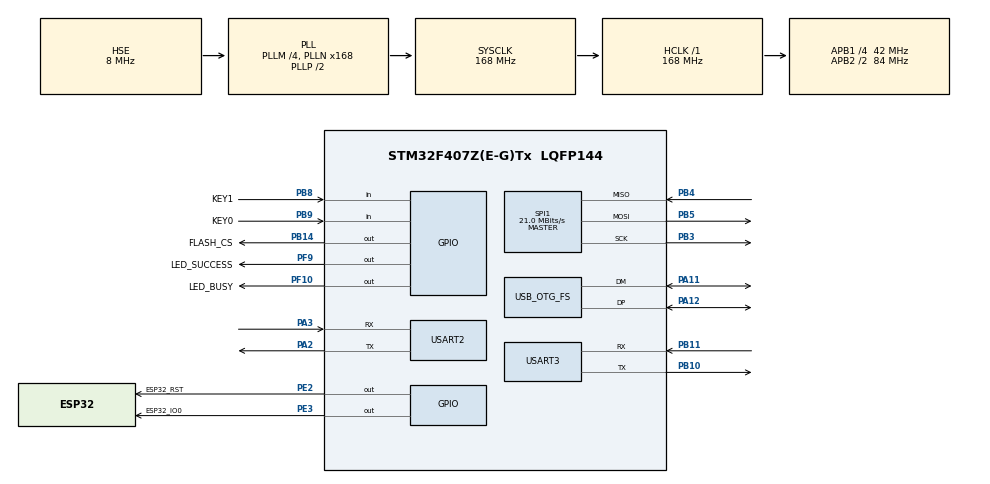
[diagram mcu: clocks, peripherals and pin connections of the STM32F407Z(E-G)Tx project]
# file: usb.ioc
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Dma.Request0=SPI1_RX
Dma.Request1=SPI1_TX
Dma.Request2=USART3_RX
Dma.Request3=USART3_TX
Dma.SPI1_RX.0.Direction=DMA_PERIPH_TO_MEMORY
Dma.SPI1_RX.0.FIFOMode=DMA_FIFOMODE_DISABLE
Dma.SPI1_RX.0.Instance=DMA2_Stream0
Dma.SPI1_RX.0.MemDataAlignment=DMA_MDATAALIGN_BYTE
Dma.SPI1_RX.0.MemInc=DMA_MINC_ENABLE
Dma.SPI1_RX.0.Mode=DMA_NORMAL
Dma.SPI1_RX.0.PeriphDataAlignment=DMA_PDATAALIGN_BYTE
Dma.SPI1_RX.0.PeriphInc=DMA_PINC_DISABLE
Dma.SPI1_RX.0.Priority=DMA_PRIORITY_LOW
Dma.SPI1_TX.1.Direction=DMA_MEMORY_TO_PERIPH
Dma.SPI1_TX.1.FIFOMode=DMA_FIFOMODE_DISABLE
Dma.SPI1_TX.1.Instance=DMA2_Stream3
Dma.SPI1_TX.1.MemDataAlignment=DMA_MDATAALIGN_BYTE
Dma.SPI1_TX.1.MemInc=DMA_MINC_ENABLE
Dma.SPI1_TX.1.Mode=DMA_NORMAL
Dma.SPI1_TX.1.PeriphDataAlignment=DMA_PDATAALIGN_BYTE
Dma.SPI1_TX.1.PeriphInc=DMA_PINC_DISABLE
Dma.SPI1_TX.1.Priority=DMA_PRIORITY_LOW
Dma.USART3_RX.2.Direction=DMA_PERIPH_TO_MEMORY
Dma.USART3_RX.2.FIFOMode=DMA_FIFOMODE_DISABLE
Dma.USART3_RX.2.Instance=DMA1_Stream1
Dma.USART3_RX.2.MemDataAlignment=DMA_MDATAALIGN_BYTE
Dma.USART3_RX.2.MemInc=DMA_MINC_ENABLE
Dma.USART3_RX.2.Mode=DMA_CIRCULAR
Dma.USART3_RX.2.PeriphDataAlignment=DMA_PDATAALIGN_BYTE
Dma.USART3_RX.2.PeriphInc=DMA_PINC_DISABLE
Dma.USART3_RX.2.Priority=DMA_PRIORITY_LOW
Dma.USART3_TX.3.Direction=DMA_MEMORY_TO_PERIPH
Dma.USART3_TX.3.FIFOMode=DMA_FIFOMODE_DISABLE
Dma.USART3_TX.3.Instance=DMA1_Stream3
Dma.USART3_TX.3.MemDataAlignment=DMA_MDATAALIGN_BYTE
Dma.USART3_TX.3.MemInc=DMA_MINC_ENABLE
Dma.USART3_TX.3.Mode=DMA_NORMAL
Dma.USART3_TX.3.PeriphDataAlignment=DMA_PDATAALIGN_BYTE
Dma.USART3_TX.3.PeriphInc=DMA_PINC_DISABLE
Dma.USART3_TX.3.Priority=DMA_PRIORITY_LOW
FATFS._MAX_SS=4096
FATFS._USE_LABEL=1
FATFS._USE_LFN=2
FREERTOS.Tasks01=defaultTask,0,128,StartDefaultTask,Default,NULL,Dynamic,NULL,NULL
FREERTOS.configUSE_NEWLIB_REENTRANT=1
Mcu.Family=STM32F4
Mcu.Name=STM32F407Z(E-G)Tx
Mcu.Package=LQFP144
NVIC.DMA1_Stream1_IRQn=true\:5\:0\:false\:false\:true\:true\:false\:true\:true
NVIC.DMA1_Stream3_IRQn=true\:5\:0\:false\:false\:true\:true\:false\:true\:true
NVIC.DMA2_Stream0_IRQn=true\:5\:0\:false\:false\:true\:true\:false\:true\:true
NVIC.DMA2_Stream3_IRQn=true\:5\:0\:false\:false\:true\:true\:false\:true\:true
NVIC.OTG_FS_IRQn=true\:5\:0\:false\:false\:true\:true\:true\:true\:true
NVIC.PriorityGroup=NVIC_PRIORITYGROUP_4
NVIC.SPI1_IRQn=true\:5\:0\:false\:false\:true\:true\:true\:true\:true
NVIC.TIM2_IRQn=true\:15\:0\:false\:false\:true\:false\:false\:true\:true
NVIC.TimeBase=TIM2_IRQn
NVIC.TimeBaseIP=TIM2
NVIC.USART2_IRQn=true\:5\:0\:false\:false\:true\:true\:true\:true\:true
NVIC.USART3_IRQn=true\:5\:0\:false\:false\:true\:true\:true\:true\:true
PA11.Mode=Device_Only
PA11.Signal=USB_OTG_FS_DM
PA12.Mode=Device_Only
PA12.Signal=USB_OTG_FS_DP
PA13.Mode=Serial_Wire
PA13.Signal=SYS_JTMS-SWDIO
PA14.Mode=Serial_Wire
PA14.Signal=SYS_JTCK-SWCLK
PA2.Mode=Asynchronous
PA2.Signal=USART2_TX
PA3.Mode=Asynchronous
PA3.Signal=USART2_RX
PB10.Mode=Asynchronous
PB10.Signal=USART3_TX
PB11.Mode=Asynchronous
PB11.Signal=USART3_RX
PB14.GPIO_Label=FLASH_CS
PB14.Signal=GPIO_Output
PB3.Mode=Full_Duplex_Master
PB3.Signal=SPI1_SCK
PB4.Mode=Full_Duplex_Master
PB4.Signal=SPI1_MISO
PB5.Mode=Full_Duplex_Master
PB5.Signal=SPI1_MOSI
PB8.GPIO_Label=KEY1
PB8.GPIO_PuPd=GPIO_PULLUP
PB8.Signal=GPIO_Input
PB9.GPIO_Label=KEY0
PB9.GPIO_PuPd=GPIO_PULLUP
PB9.Signal=GPIO_Input
PE2.GPIO_Label=ESP32_RST
PE2.Signal=GPIO_Output
PE3.GPIO_Label=ESP32_IO0
PE3.Signal=GPIO_Output
PF10.GPIO_Label=LED_BUSY
PF10.Signal=GPIO_Output
PF9.GPIO_Label=LED_SUCCESS
PF9.Signal=GPIO_Output
PH0-OSC_IN.Mode=HSE-External-Oscillator
PH0-OSC_IN.Signal=RCC_OSC_IN
PH1-OSC_OUT.Mode=HSE-External-Oscillator
PH1-OSC_OUT.Signal=RCC_OSC_OUT
ProjectManager.HeapSize=0x200
ProjectManager.StackSize=0x400
ProjectManager.TargetToolchain=STM32CubeIDE
RCC.48MHZClocksFreq_Value=48000000
RCC.AHBFreq_Value=168000000
RCC.APB1CLKDivider=RCC_HCLK_DIV4
RCC.APB1Freq_Value=42000000
RCC.APB1TimFreq_Value=84000000
RCC.APB2CLKDivider=RCC_HCLK_DIV2
RCC.APB2Freq_Value=84000000
RCC.APB2TimFreq_Value=168000000
RCC.CortexFreq_Value=168000000
RCC.HCLKFreq_Value=168000000
RCC.HSE_VALUE=8000000
RCC.HSI_VALUE=16000000
RCC.LSE_VALUE=32768
RCC.PLLM=4
RCC.PLLN=168
RCC.PLLQ=7
RCC.SYSCLKFreq_VALUE=168000000
RCC.SYSCLKSource=RCC_SYSCLKSOURCE_PLLCLK
RCC.VCOOutputFreq_Value=336000000
SPI1.BaudRatePrescaler=SPI_BAUDRATEPRESCALER_4
SPI1.CalculateBaudRate=21.0 MBits/s
SPI1.Direction=SPI_DIRECTION_2LINES
SPI1.Mode=SPI_MODE_MASTER
SPI1.VirtualType=VM_MASTER
USART2.VirtualMode=VM_ASYNC
USART3.VirtualMode=VM_ASYNC
USB_DEVICE.CLASS_NAME_FS=MSC
USB_DEVICE.MANUFACTURER_STRING-MSC_FS=HuyTV
USB_DEVICE.MSC_MEDIA_PACKET-MSC_FS=4096
USB_DEVICE.PRODUCT_STRING_MSC_FS=HuyTV
USB_DEVICE.VirtualMode-MSC_FS=Msc
USB_DEVICE.VirtualModeFS=Msc_FS
USB_OTG_FS.VirtualMode=Device_Only
VP_FATFS_VS_Generic.Mode=User_defined
VP_FREERTOS_VS_CMSIS_V1.Mode=CMSIS_V1
VP_SYS_VS_tim2.Mode=TIM2
VP_USB_DEVICE_VS_USB_DEVICE_MSC_FS.Mode=MSC_FS
board=custom

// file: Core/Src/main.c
/* USER CODE BEGIN Header */
/**
  ******************************************************************************
  * @file           : main.c
  * @brief          : Main program body
  ******************************************************************************
  * @attention
  *
  * Copyright (c) 2022 STMicroelectronics.
  * All rights reserved.
  *
  * This software is licensed under terms that can be found in the LICENSE file
  * in the root directory of this software component.
  * If no LICENSE file comes with this software, it is provided AS-IS.
  *
  ******************************************************************************
  */
/* USER CODE END Header */
#include "main.h"
#include "cmsis_os.h"
#include "dma.h"
#include "fatfs.h"
#include "spi.h"
#include "usart.h"
#include "usb_device.h"
#include "gpio.h"

/* USER CODE BEGIN Includes */
#include "app_debug.h"
#include "Segger_RTT.h"
#include "tusb.h"
/* USER CODE END Includes */

void SystemClock_Config(void);
void MX_FREERTOS_Init(void);

/* USER CODE BEGIN 0 */
uint32_t sys_get_ms(void);
uint32_t rtt_tx(const void *buffer, uint32_t size);
bool lock_debug(bool lock, uint32_t timeout_ms);
static SemaphoreHandle_t m_lock_debug;
/* USER CODE END 0 */

int main(void)
{

  /* MCU Configuration--------------------------------------------------------*/

  /* Reset of all peripherals, Initializes the Flash interface and the Systick. */
  HAL_Init();

  /* Configure the system clock */
  SystemClock_Config();

  /* Initialize all configured peripherals */
  MX_GPIO_Init();
  MX_DMA_Init();
  MX_SPI1_Init();
  MX_FATFS_Init();
  MX_USART3_UART_Init();
  MX_USART2_UART_Init();
  /* USER CODE BEGIN 2 */
	m_lock_debug = xSemaphoreCreateMutex();
	xSemaphoreGive(m_lock_debug);
	app_debug_init(sys_get_ms, lock_debug);
	app_debug_register_callback_print(usart_logger_put);

  /* USER CODE END 2 */

  /* Call init function for freertos objects (in freertos.c) */
  MX_FREERTOS_Init();

  /* Start scheduler */
  osKernelStart();

  /* We should never get here as control is now taken by the scheduler */
  /* Infinite loop */
  while (1)
  {

  }
}

void SystemClock_Config(void)
{
  RCC_OscInitTypeDef RCC_OscInitStruct = {0};
  RCC_ClkInitTypeDef RCC_ClkInitStruct = {0};

  /** Configure the main internal regulator output voltage
  */
  __HAL_RCC_PWR_CLK_ENABLE();
  __HAL_PWR_VOLTAGESCALING_CONFIG(PWR_REGULATOR_VOLTAGE_SCALE1);

  /** Initializes the RCC Oscillators according to the specified parameters
  * in the RCC_OscInitTypeDef structure.
  */
  RCC_OscInitStruct.OscillatorType = RCC_OSCILLATORTYPE_HSE;
  RCC_OscInitStruct.HSEState = RCC_HSE_ON;
  RCC_OscInitStruct.PLL.PLLState = RCC_PLL_ON;
  RCC_OscInitStruct.PLL.PLLSource = RCC_PLLSOURCE_HSE;
  RCC_OscInitStruct.PLL.PLLM = 4;
  RCC_OscInitStruct.PLL.PLLN = 168;
  RCC_OscInitStruct.PLL.PLLP = RCC_PLLP_DIV2;
  RCC_OscInitStruct.PLL.PLLQ = 7;
  if (HAL_RCC_OscConfig(&RCC_OscInitStruct) != HAL_OK)
  {
    Error_Handler();
  }

  /** Initializes the CPU, AHB and APB buses clocks
  */
  RCC_ClkInitStruct.ClockType = RCC_CLOCKTYPE_HCLK|RCC_CLOCKTYPE_SYSCLK
                              |RCC_CLOCKTYPE_PCLK1|RCC_CLOCKTYPE_PCLK2;
  RCC_ClkInitStruct.SYSCLKSource = RCC_SYSCLKSOURCE_PLLCLK;
  RCC_ClkInitStruct.AHBCLKDivider = RCC_SYSCLK_DIV1;
  RCC_ClkInitStruct.APB1CLKDivider = RCC_HCLK_DIV4;
  RCC_ClkInitStruct.APB2CLKDivider = RCC_HCLK_DIV2;

  if (HAL_RCC_ClockConfig(&RCC_ClkInitStruct, FLASH_LATENCY_5) != HAL_OK)
  {
    Error_Handler();
  }
}

/* USER CODE BEGIN 4 */
uint32_t sys_get_ms(void)
{
    return HAL_GetTick();
}

uint32_t rtt_tx(const void *buffer, uint32_t size)
{
    return SEGGER_RTT_Write(0, buffer, size);
}

bool lock_debug(bool lock, uint32_t timeout_ms)
{
	if (lock)
		return xSemaphoreTake(m_lock_debug, timeout_ms);
	xSemaphoreGive(m_lock_debug);
	return true;
}

/* USER CODE END 4 */

void HAL_TIM_PeriodElapsedCallback(TIM_HandleTypeDef *htim)
{
  if (htim->Instance == TIM2) {
    HAL_IncTick();
  }
}

void Error_Handler(void)
{
  __disable_irq();
  while (1)
  {
  }
}

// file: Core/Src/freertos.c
/* USER CODE BEGIN Header */
/**
  ******************************************************************************
  * File Name          : freertos.c
  * Description        : Code for freertos applications
  ******************************************************************************
  * @attention
  *
  * Copyright (c) 2022 STMicroelectronics.
  * All rights reserved.
  *
  * This software is licensed under terms that can be found in the LICENSE file
  * in the root directory of this software component.
  * If no LICENSE file comes with this software, it is provided AS-IS.
  *
  ******************************************************************************
  */
/* USER CODE END Header */

#include "FreeRTOS.h"
#include "task.h"
#include "main.h"
#include "cmsis_os.h"

/* USER CODE BEGIN Includes */
#include "usbd_storage_if.h"
#include "tusb.h"
#include "app_debug.h"
#include "fatfs.h"
#include "lwrb.h"
#include <stdbool.h>
#include "FreeRTOSConfig.h"
#include "semphr.h"
#include "task.h"
#include "event_groups.h"
#include "esp_loader.h"
#include "example_common.h"
#include "md5_hash.h"
#include "app_btn.h"
#include "utilities.h"
#include "usart.h" /// needs add change baudrate function
#include "stm32_port.h"
/* USER CODE END Includes */

/* USER CODE BEGIN PD */
#define CDC_STACK_SZIE      configMINIMAL_STACK_SIZE
#define USB_CDC_TX_RING_BUFFER_SIZE		1024
#define BIT_EVENT_GROUP_KEY_0_PRESSED        (1 << 0)
#define BIT_EVENT_GROUP_KEY_1_PRESSED        (1 << 1)
//#define BIT_EVENT_GROUP_BUTTON_2_PRESSED        (1 << 2)
#define HW_BTN_CONFIG                                       \
{                                                           \
    /* PinName       Last state   Idle level*/              \
    {0, 1, 1},                                              \
    {1, 1, 1},                                              \
}
/* USER CODE END PD */

/* USER CODE BEGIN Variables */
static uint8_t m_buffer[4096];
static MD5Context_t md5_context;
static esp_loader_config_t m_loader_cfg =
{
    .baud_rate = 115200,
//    .uart_rx_pin = GPIO_NUM_26,
//    .uart_tx_pin = GPIO_NUM_25,
    .reset_trigger_pin = ESP32_RST_Pin,
    .gpio0_trigger_pin = ESP32_IO0_Pin,
//    .rx_buffer_size = 4096,
//    .tx_buffer_size = 4096,
    .buffer = m_buffer,
    .buffer_size = 4096,
    .sync_timeout = 100,
    .trials = 10,
    .md5_context = &md5_context
};

static example_binaries_t m_binary;
static char m_file_address[128];
volatile uint32_t led_busy_toggle = 0;

static app_btn_hw_config_t m_button_cfg[] = HW_BTN_CONFIG;
static EventGroupHandle_t m_button_event_group = NULL;
static const char *info_file = "info.txt";
static const char *bootloader_file = "bootloader.bin";
static const char *application_file = "app.bin";
static const char *partition_file = "partition-table.bin";
bool m_disk_is_mounted = false;

/* USER CODE END Variables */
osThreadId defaultTaskHandle;

/* USER CODE BEGIN FunctionPrototypes */
osThreadId testTaskHandle;
BYTE gFSWork[_MAX_SS];
UINT br, bw;  // File read/write count
UINT fbr, fbw;  // File read/write count
FRESULT flash_res;
StackType_t  cdc_stack[CDC_STACK_SZIE];
StaticTask_t cdc_taskdef;
void cdc_task(void* params);

void flash_task(void *argument);
static TaskHandle_t m_task_connect_handle = NULL;
void button_initialize(uint32_t button_num);
uint32_t btn_read(uint32_t pin);
void on_btn_pressed(int number, int event, void * pData);
void on_btn_release(int number, int event, void * pData);
void on_btn_hold(int number, int event, void * pData);
static void on_btn_hold_so_long(int index, int event, void * pData);
static const char *chip_des[] = {"ESP8266", "ESP32", "ESP32S2", "ESP32C3", "ESP32S3", "ESP32C2", "ESP32H2", "UNKNOWN"};
/* USER CODE END FunctionPrototypes */

void StartDefaultTask(void const * argument);

extern void MX_USB_DEVICE_Init(void);
void MX_FREERTOS_Init(void); /* (MISRA C 2004 rule 8.1) */

/* GetIdleTaskMemory prototype (linked to static allocation support) */
void vApplicationGetIdleTaskMemory( StaticTask_t **ppxIdleTaskTCBBuffer, StackType_t **ppxIdleTaskStackBuffer, uint32_t *pulIdleTaskStackSize );

/* USER CODE BEGIN GET_IDLE_TASK_MEMORY */
static StaticTask_t xIdleTaskTCBBuffer;
static StackType_t xIdleStack[configMINIMAL_STACK_SIZE];

void vApplicationGetIdleTaskMemory( StaticTask_t **ppxIdleTaskTCBBuffer, StackType_t **ppxIdleTaskStackBuffer, uint32_t *pulIdleTaskStackSize )
{
  *ppxIdleTaskTCBBuffer = &xIdleTaskTCBBuffer;
  *ppxIdleTaskStackBuffer = &xIdleStack[0];
  *pulIdleTaskStackSize = configMINIMAL_STACK_SIZE;
  /* place for user code */
}
/* USER CODE END GET_IDLE_TASK_MEMORY */

void MX_FREERTOS_Init(void) {

  /* Create the thread(s) */
  /* definition and creation of defaultTask */
  osThreadDef(defaultTask, StartDefaultTask, osPriorityHigh, 0, 1024);
  defaultTaskHandle = osThreadCreate(osThread(defaultTask), NULL);

}

void StartDefaultTask(void const * argument)
{
  /* init code for USB_DEVICE */
  /* USER CODE BEGIN StartDefaultTask */
    GPIO_InitTypeDef GPIO_InitStruct = {0};
    GPIO_InitStruct.Pin = GPIO_PIN_11|GPIO_PIN_12;
    GPIO_InitStruct.Mode = GPIO_MODE_OUTPUT_PP;
    GPIO_InitStruct.Pull = GPIO_NOPULL;
    GPIO_InitStruct.Speed = GPIO_SPEED_FREQ_LOW;
    HAL_GPIO_Init(GPIOA, &GPIO_InitStruct);

    HAL_GPIO_WritePin(GPIOA, GPIO_PIN_11, GPIO_PIN_RESET);
    HAL_GPIO_WritePin(GPIOA, GPIO_PIN_12, GPIO_PIN_RESET);

    MX_FATFS_Init();

    vTaskDelay(500);		// time for usb renum

    HAL_GPIO_WritePin(GPIOA, GPIO_PIN_11, GPIO_PIN_SET);
    HAL_GPIO_WritePin(GPIOA, GPIO_PIN_12, GPIO_PIN_SET);

    GPIO_InitStruct.Pin = GPIO_PIN_11|GPIO_PIN_12;
    GPIO_InitStruct.Mode = GPIO_MODE_INPUT;
    GPIO_InitStruct.Pull = GPIO_NOPULL;
    GPIO_InitStruct.Speed = GPIO_SPEED_FREQ_LOW;
    HAL_GPIO_Init(GPIOA, &GPIO_InitStruct);
    m_button_event_group = xEventGroupCreate(); /// create group buttons
    MX_USB_DEVICE_Init();
    DEBUG_INFO("tusb_init\r\n");
    // INIT BUTTON APP
    app_btn_config_t btn_conf;
    btn_conf.config = m_button_cfg;
    btn_conf.btn_count = 2;
    btn_conf.get_tick_cb = xTaskGetTickCount;
    btn_conf.btn_initialize = button_initialize;
    btn_conf.btn_read = btn_read;
    btn_conf.scan_interval_ms = 50;
    app_btn_initialize(&btn_conf);
//    app_btn_initialize(&btn_conf);
    app_btn_register_callback(APP_BTN_EVT_HOLD, on_btn_hold, NULL);
    app_btn_register_callback(APP_BTN_EVT_HOLD_SO_LONG, on_btn_hold_so_long, NULL);
    app_btn_register_callback(APP_BTN_EVT_PRESSED, on_btn_pressed, NULL);
    app_btn_register_callback(APP_BTN_EVT_RELEASED, on_btn_release, NULL);
    // INIT BUTTON END
    flash_res = f_mount(&USERFatFS, USERPath, 1);
	if (flash_res != FR_OK)
	{
		DEBUG_WARN("Mount flash fail\r\n");
		flash_res = f_mkfs(USERPath, FM_ANY, 0, gFSWork, sizeof gFSWork);
		flash_res = f_mount(&USERFatFS, USERPath, 1);
		if (flash_res == FR_OK)
		{
			m_disk_is_mounted = true;
			DEBUG_INFO ("format disk and mount again\r\n");
		}
		else
		{
			DEBUG_ERROR("Mount flash error\r\n");
		}
	}
	else
	{
		m_disk_is_mounted = true;
		DEBUG_INFO ("Mount flash ok\r\n");
	}
	TCHAR label[32];
	f_getlabel(USERPath, label, 0);
	DEBUG_INFO("Label %s\r\n", label);
	if (strcmp(label, "BSAFE JIG"))
	{
		DEBUG_INFO("Set label\r\n");
		f_setlabel("BSAFE JIG");
	}

    tusb_init();
  // Create CDC task
  (void) xTaskCreateStatic(cdc_task, "cdc", CDC_STACK_SZIE, NULL, 1, cdc_stack, &cdc_taskdef);// pio =2
  // Create flashtask
  if (m_task_connect_handle == NULL)
  {
	  xTaskCreate(flash_task, "flash_task", 4096, NULL, 0, &m_task_connect_handle);// pio =1
  }
  /* Infinite loop */
  for(;;)
  {
	  app_btn_scan(NULL);
	 // app_debug_isr_ringbuffer_flush();
	  if (led_busy_toggle == 0)
	  {
		  HAL_GPIO_WritePin(LED_BUSY_GPIO_Port, LED_BUSY_Pin, GPIO_PIN_SET);
	  }
	  osDelay(10);
  }
  /* USER CODE END StartDefaultTask */
}

/* USER CODE BEGIN Application */

static bool m_cdc_debug_register = false;
static lwrb_t m_ringbuffer_usb_cdc_tx;
static uint8_t m_lwrb_tx_raw_buffer[USB_CDC_TX_RING_BUFFER_SIZE];
uint32_t cdc_tx(const void *buffer, uint32_t size)
{
	lwrb_write(&m_ringbuffer_usb_cdc_tx, buffer, size);
	return size;
}

void cdc_task(void* params)
{
	DEBUG_INFO("ENTER CDC TASK\r\n");
	lwrb_init(&m_ringbuffer_usb_cdc_tx, m_lwrb_tx_raw_buffer, USB_CDC_TX_RING_BUFFER_SIZE);
	for (;;)
	{
//	    // connected() check for DTR bit
//	    // Most but not all terminal client set this when making connection
		tud_task();
	    if (tud_cdc_connected())
		{
	    	if (m_cdc_debug_register == false)
	    	{
	    		m_cdc_debug_register = true;
	    		app_debug_register_callback_print(cdc_tx);
	    	}
			// There are data available
			if (tud_cdc_available())
			{
				uint8_t buf[64];

				// read and echo back
				uint32_t count = tud_cdc_read(buf, sizeof(buf));
				(void) count;

				if (count && strstr((char*)buf, "RESET"))
				{
					tud_cdc_write_flush();
					tud_cdc_write_str("System reset\r\n");
					tud_cdc_write_flush();
					vTaskDelay(1000);
					NVIC_SystemReset();
				}
//				// Echo back
//				// Note: Skip echo by commenting out write() and write_flush()
//				// for throughput test e.g
//				//    $ dd if=/dev/zero of=/dev/ttyACM0 count=10000
//				tud_cdc_write(buf, count);
//				tud_cdc_write_flush();
			}
		}
	    else
	    {
	    	if (m_cdc_debug_register)
	    	{
	    		m_cdc_debug_register = false;
	    		app_debug_unregister_callback_print(cdc_tx);
		    	// Flush all cdc tx buffer
		    	char tmp[1];
		    	while (lwrb_read(&m_ringbuffer_usb_cdc_tx, tmp, 1))
		    	{

		    	}
	    	}
	    }

	    char buffer[ (TUD_OPT_HIGH_SPEED ? 512 : 64)];
	    uint32_t size;
	    while (1)
	    {
	    	uint32_t avai = tud_cdc_write_available();
	    	if (avai >= sizeof(buffer))
	    	{
	    		avai = sizeof(buffer);
	    	}
			size = lwrb_read(&m_ringbuffer_usb_cdc_tx, buffer, avai);
			if (size)
			{
				tud_cdc_write(buffer, size);
				tud_cdc_write_flush();
			}
			else
			{
				break;
			}
	    }
	    vTaskDelay(pdMS_TO_TICKS(1));
	}
}

void flash_task(void *argument)
{
	DEBUG_INFO("ENTER flash TASK\r\n");
	int32_t file_size = 0;

	if (m_disk_is_mounted)
	{
		file_size = fatfs_read_file(info_file, (uint8_t*)m_file_address, sizeof(m_file_address) - 1);
		if (file_size > 0)
		{
			/*
			{
				"boot": 123456,
				"app": 1238123,
				"partition": 1238
			}
			*/
			char *ptr = strstr(m_file_address, "\"boot\":");
			if (ptr)
			{
				ptr += strlen("\"boot\":");
				m_binary.boot.addr = utilities_get_number_from_string(0, ptr);
			}

			ptr = strstr(m_file_address, "\"app\":");
			if (ptr)
			{
				ptr += strlen("\"app\":");
				m_binary.app.addr = utilities_get_number_from_string(0, ptr);
			}

			ptr = strstr(m_file_address, "\"partition\":");
			if (ptr)
			{
				ptr += strlen("\"partition\":");
				m_binary.part.addr = utilities_get_number_from_string(0, ptr);
			}
		}

		file_size = fatfs_get_file_size(bootloader_file);
		if (file_size > -1)
		{
			m_binary.boot.size = file_size;
			m_binary.boot.file_name = bootloader_file;
		}

		file_size = fatfs_get_file_size(application_file);
		if (file_size > -1)
		{
			m_binary.app.size = file_size;
			m_binary.app.file_name = application_file;
		}

		file_size = fatfs_get_file_size(partition_file);
		if (file_size > -1)
		{
			m_binary.part.size = file_size;
			m_binary.part.file_name = partition_file;
		}

		DEBUG_INFO("Bootloader offset 0x%08X, app 0x%08X, partition table 0x%08X\r\n", m_binary.boot.addr, m_binary.app.addr,  m_binary.part.addr);
		DEBUG_INFO("Bootloader %u bytes, app %u bytes, partition table %u bytes\r\n", m_binary.boot.size, m_binary.app.size,  m_binary.part.size);
	}
    m_loader_cfg.gpio0_trigger_port = (uint32_t)ESP32_IO0_GPIO_Port;
    m_loader_cfg.reset_trigger_port = (uint32_t)ESP32_RST_GPIO_Port;
    m_loader_cfg.uart_addr = (uint32_t)USART3;
    esp_loader_error_t err;

    // Clear led busy & success, set led error
    HAL_GPIO_WritePin(LED_BUSY_GPIO_Port, LED_BUSY_Pin, GPIO_PIN_SET);
    HAL_GPIO_WritePin(LED_SUCCESS_GPIO_Port, LED_SUCCESS_Pin, GPIO_PIN_SET);
    for (;;)
	{
    	DEBUG_INFO("ENTER flash LOOP\r\n");
    	if (led_busy_toggle > 10)
		{
			led_busy_toggle = 1;
		}
		xEventGroupWaitBits(m_button_event_group,
								BIT_EVENT_GROUP_KEY_0_PRESSED,
								pdTRUE,
								pdFALSE,
								portMAX_DELAY);
//		DEBUG_INFO("KEY IS PRESSED\r\n");
        HAL_GPIO_WritePin(LED_BUSY_GPIO_Port, LED_BUSY_Pin, GPIO_PIN_SET);
        HAL_GPIO_WritePin(LED_SUCCESS_GPIO_Port, LED_SUCCESS_Pin, GPIO_PIN_SET);
        uint32_t now = xTaskGetTickCount();
		uint32_t retry = 4;
		while (m_binary.part.size > 0
				&& m_binary.app.size > 0
				&& m_binary.part.size > 0
				)
		{
			if (retry == 0)
			{
				break;
			}
			retry--;
			loader_port_change_baudrate(&m_loader_cfg, 115200);
			DEBUG_INFO("Connecting to target remain %u times\r\n", retry);
			led_busy_toggle = 1000000;
			err = esp_loader_connect(&m_loader_cfg);
			if (err != ESP_LOADER_SUCCESS)
			{
				DEBUG_ERROR("Connect to target failed %d\r\n", err);
				continue;
			}
			else
			{
				DEBUG_INFO("Connected to target %s\r\n", chip_des[m_loader_cfg.target]);
			}
			DEBUG_INFO("Change baudrate\r\n");
			err = esp_loader_change_baudrate(&m_loader_cfg, 115200);
			if (err == ESP_LOADER_ERROR_UNSUPPORTED_FUNC)
			{
				DEBUG_ERROR("ESP8266 does not support change baudrate command\r\n");
			}
			else if (err != ESP_LOADER_SUCCESS)
			{
				DEBUG_ERROR("Unable to change baud rate on target\r\n");
			}
			else
			{
				err = loader_port_change_baudrate(&m_loader_cfg, 115200);
				if (err != ESP_LOADER_SUCCESS)
				{
					DEBUG_ERROR("Unable to change baud rate\r\n");
				}
				else
				{
					DEBUG_INFO("Port[%u] : Baudrate changed\r\n");
				}
			}

			DEBUG_INFO("Flash bootloader\r\n");
			if (flash_binary_stm32(&m_loader_cfg, &m_binary.boot) != ESP_LOADER_SUCCESS)
			{
				DEBUG_INFO("FLASH BOOTLOADER FAIL \r\n");
				xEventGroupClearBits(m_button_event_group,
									BIT_EVENT_GROUP_KEY_0_PRESSED);
				break;
			}

			DEBUG_INFO("Flash app\r\n");
			if (flash_binary_stm32(&m_loader_cfg, &m_binary.app) != ESP_LOADER_SUCCESS)
			{
				xEventGroupClearBits(m_button_event_group,
									BIT_EVENT_GROUP_KEY_0_PRESSED);
				break;
			}

			DEBUG_INFO("Flash parition table\r\n");
			if (flash_binary_stm32(&m_loader_cfg, &m_binary.part) != ESP_LOADER_SUCCESS)
			{
				xEventGroupClearBits(m_button_event_group,
									BIT_EVENT_GROUP_KEY_0_PRESSED);
				break;
			}
			retry = 0;
			xEventGroupClearBits(m_button_event_group,
								BIT_EVENT_GROUP_KEY_0_PRESSED);
			DEBUG_INFO("Total flash write time %us\r\n", (xTaskGetTickCount() - now)/1000);
			HAL_GPIO_WritePin(GPIOF, LED_SUCCESS_Pin, GPIO_PIN_RESET);
			if (led_busy_toggle > 10)
			{
				led_busy_toggle = 1;
			}

			loader_port_change_baudrate(&m_loader_cfg, 115200);
			// loader_port_reset_target(&m_loader_cfg);
			// Led success on, led busy off
			HAL_GPIO_WritePin(LED_SUCCESS_GPIO_Port, LED_SUCCESS_Pin, GPIO_PIN_RESET);
			HAL_GPIO_WritePin(LED_BUSY_GPIO_Port, LED_BUSY_Pin, GPIO_PIN_SET);
			break;
		}
		vTaskDelay(1000);
	}
//    vTaskDelay(1000);
}

void button_initialize(uint32_t button_num)
{

}

uint32_t btn_read(uint32_t pin)
{
    if (pin == 0)
    {
        return HAL_GPIO_ReadPin(KEY0_GPIO_Port, KEY0_Pin);
    }
//    else if (pin == 1)
//    {
	return HAL_GPIO_ReadPin(KEY1_GPIO_Port, KEY1_Pin);
//    }
//    return HAL_GPIO_ReadPin(KEY3_GPIO_Port, KEY3_Pin);
}

void on_btn_pressed(int number, int event, void * pData)
{
    DEBUG_INFO("On button %d pressed\r\n", number);
    if (number == 0)
    {
        xEventGroupSetBits(m_button_event_group, BIT_EVENT_GROUP_KEY_0_PRESSED);
    }
    else if (number == 1)
    {
        xEventGroupSetBits(m_button_event_group, BIT_EVENT_GROUP_KEY_1_PRESSED);
    }
    else
    {
        //xEventGroupSetBits(m_button_event_group, BIT_EVENT_GROUP_BUTTON_1_PRESSED);
    }
}

void on_btn_release(int number, int event, void * pData)
{
    DEBUG_VERBOSE("On button %d release\r\n", number);
    if (number == 0)
    {
        xEventGroupClearBits(m_button_event_group, BIT_EVENT_GROUP_KEY_0_PRESSED);
    }
    else if (number == 1)
    {
        xEventGroupClearBits(m_button_event_group, BIT_EVENT_GROUP_KEY_1_PRESSED);
    }
    else if (number == 2)
    {
  //      xEventGroupClearBits(m_button_event_group, BIT_EVENT_GROUP_BUTTON_2_PRESSED);
    }
}

void on_btn_hold(int number, int event, void * pData)
{
    DEBUG_INFO("On button %d pair hold, enter pair mode\r\n", number);
}

static void on_btn_hold_so_long(int index, int event, void * pData)
{
    DEBUG_INFO("Button hold so long\r\n");
}

/* USER CODE END Application */
